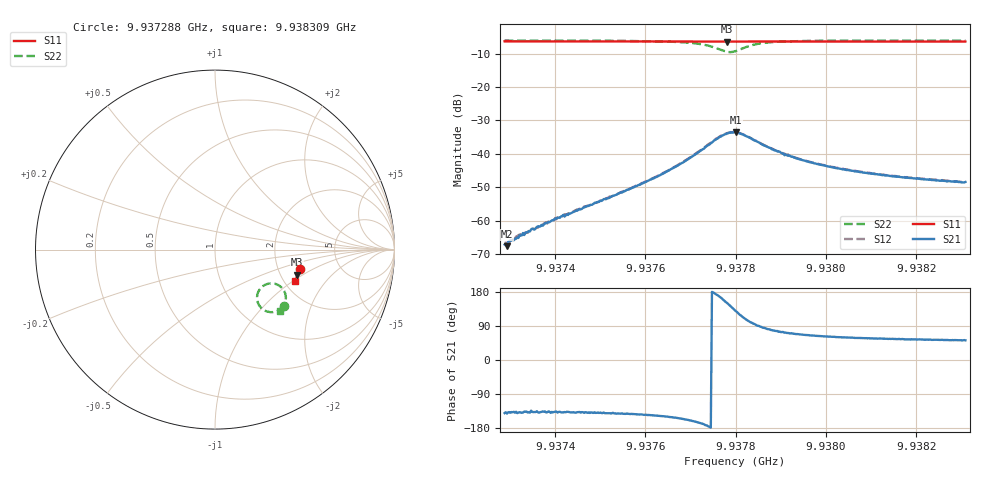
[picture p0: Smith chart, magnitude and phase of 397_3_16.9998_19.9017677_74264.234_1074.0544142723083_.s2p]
#  HZ  S  RI  R  50.00
! Rohde & Schwarz Vector Network Analyzer
! Rohde-Schwarz,ZNB20-2Port,1311601062101988,3.16
! Created: UTC 3/20/2024, 11:09:54 PM
! freq[Hz]  re:S11  im:S11  re:S21  im:S21  re:S12  im:S12  re:S22  im:S22
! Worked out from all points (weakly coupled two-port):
!   401 points, 9.937288 GHz to 9.938309 GHz, reference 50 ohm
!   highest |S21| = -33.56 dB at 9.937801 GHz (marker M1); lowest = -67.6 dB at 9.937293 GHz (marker M2)
!   lowest |S11| = -6.4 dB at 9.937781 GHz (marker M3), VSWR 2.84, Z = 123 - j44.5 ohm
!   |S11| at or under -10 dB: nowhere
!   |S22| runs from -9.6 to -6.1 dB; largest |S21 - S12| = 0.00093
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9.9372883e9  0.4715 -0.1076  -0.000336 -0.000282  -0.000356 -0.000297  0.3847 -0.3159
9.9372935e9  0.4713 -0.108  -0.000325 -0.00026  -0.000361 -0.000289  0.3845 -0.3163
9.9373011e9  0.4711 -0.1085  -0.000377 -0.000324  -0.000365 -0.000345  0.3839 -0.3169
9.937319e9  0.4709 -0.1097  -0.000415 -0.000363  -0.000459 -0.000398  0.3826 -0.3182
9.9373317e9  0.4705 -0.1105  -0.00044 -0.000423  -0.000491 -0.00041  0.3817 -0.3191
9.9373649e9  0.4699 -0.1127  -0.000621 -0.00054  -0.00063 -0.000534  0.3788 -0.3215
9.9374593e9  0.4678 -0.1192  -0.00111 -0.00102  -0.00119 -0.00102  0.3696 -0.3291
9.937564e9  0.4655 -0.1261  -0.00233 -0.0018  -0.00238 -0.00179  0.354 -0.3389
9.9376303e9  0.4639 -0.1306  -0.00398 -0.00256  -0.0041 -0.0025  0.337 -0.3455
9.9376839e9  0.4624 -0.1343  -0.00679 -0.00307  -0.007 -0.00303  0.3112 -0.3484
9.9377273e9  0.4607 -0.137  -0.0115 -0.00224  -0.0118 -0.00207  0.2728 -0.3369
9.9377579e9  0.4594 -0.1385  -0.0166 0.0022  -0.0168 0.00271  0.239 -0.2959
9.9377809e9  0.4583 -0.1393  -0.0176 0.00982  -0.0175 0.0106  0.2414 -0.2347
9.9377987e9  0.4583 -0.1396  -0.0137 0.0159  -0.0133 0.0163  0.2808 -0.1954
9.9378013e9  0.4584 -0.1397  -0.013 0.0165  -0.0124 0.017  0.288 -0.1924
9.9378268e9  0.4587 -0.141  -0.00445 0.0175  -0.00418 0.0177  0.3531 -0.198
9.9378549e9  0.4587 -0.143  0.000542 0.0143  0.000788 0.0145  0.3856 -0.2309
9.9379085e9  0.4579 -0.1471  0.00293 0.00907  0.00322 0.00953  0.3947 -0.2751
9.9379697e9  0.4563 -0.1513  0.00315 0.00668  0.00334 0.00665  0.3894 -0.2998
9.9380412e9  0.4546 -0.156  0.00298 0.00507  0.00307 0.00503  0.3817 -0.3153
9.9381407e9  0.452 -0.1626  0.00261 0.00388  0.00272 0.00391  0.3727 -0.3284
9.9383091e9  0.4472 -0.1733  0.00234 0.00299  0.00238 0.00296  0.3601 -0.3426
